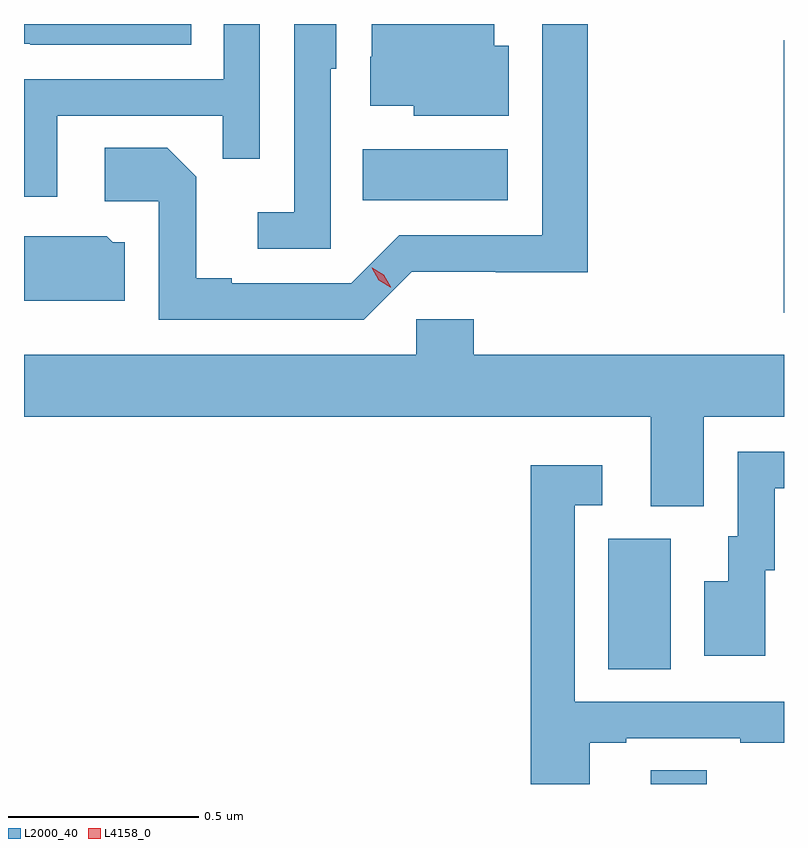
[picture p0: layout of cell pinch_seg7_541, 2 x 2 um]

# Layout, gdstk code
import gdstk
lib = gdstk.Library(unit=1e-6, precision=1e-09)
def R(c, l, rs):  # rectangles x0, y0, x1, y1
    for r in rs: c.add(gdstk.rectangle(r[:2], r[2:], *l))
def P(c, l, *ps):  # polygons
    for p in ps: c.add(gdstk.Polygon(p, *l))
L2000_40 = (2000, 40)
L4158_0 = (4158, 0)

pinch_seg7_541 = lib.new_cell('pinch_seg7_541')
R(pinch_seg7_541, L2000_40, [(156.329,1063.586,156.477,1063.622), (156.218,1063.888,156.382,1064.232), (156.679,1064.826,156.68,1065.543), (155.572,1065.122,155.953,1065.256)])
P(pinch_seg7_541, L2000_40, [(155.487,1065.468),(155.502,1065.468),(155.502,1065.586),(155.391,1065.586),(155.391,1065.091),(155.295,1065.091),(155.295,1064.994),(155.487,1064.994)],
  [(154.767,1065.345),(155.203,1065.345),(155.203,1065.232),(155.301,1065.232),(155.301,1065.586),(155.205,1065.586),(155.205,1065.441),(154.68,1065.441),(154.68,1065.132),(154.767,1065.132)],
  [(155.956,1065.529),(155.917,1065.529),(155.917,1065.586),(155.595,1065.586),(155.595,1065.5),(155.591,1065.5),(155.591,1065.371),(155.706,1065.371),(155.706,1065.344),(155.956,1065.344)],
  [(155.12,1065.586),(154.68,1065.586),(154.68,1065.534),(154.696,1065.534),(154.696,1065.531),(155.12,1065.531)],
  [(155.7,1064.934),(155.922,1064.934),(155.922,1064.933),(156.163,1064.933),(156.163,1065.586),(156.044,1065.586),(156.044,1065.03),(155.667,1065.03),(155.541,1064.904),(155.227,1064.904),(155.227,1064.917),(155.133,1064.917),(155.133,1065.184),(155.057,1065.26),(154.893,1065.26),(154.893,1065.12),(155.034,1065.12),(155.034,1064.808),(155.574,1064.808)],
  [(154.945,1065.012),(154.914,1065.012),(154.898,1065.028),(154.764,1065.028),(154.764,1065.027),(154.68,1065.027),(154.68,1064.858),(154.945,1064.858)],
  [(156.469,1064.552),(156.68,1064.552),(156.68,1064.716),(155.864,1064.716),(155.864,1064.809),(155.712,1064.809),(155.712,1064.716),(154.68,1064.716),(154.68,1064.552),(156.329,1064.552),(156.329,1064.317),(156.469,1064.317)],
  [(156.631,1064.148),(156.655,1064.148),(156.655,1064.364),(156.68,1064.364),(156.68,1064.46),(156.558,1064.46),(156.558,1064.238),(156.533,1064.238),(156.533,1064.119),(156.47,1064.119),(156.47,1063.923),(156.631,1063.923)],
  [(156.169,1063.695),(156.265,1063.695),(156.265,1063.707),(156.565,1063.707),(156.565,1063.695),(156.68,1063.695),(156.68,1063.803),(156.129,1063.803),(156.129,1064.319),(156.202,1064.319),(156.202,1064.425),(156.013,1064.425),(156.013,1063.586),(156.169,1063.586)])
P(pinch_seg7_541, L4158_0, [(155.644,1064.893),(155.613,1064.912),(155.595,1064.945),(155.595,1064.945),(155.596,1064.945),(155.627,1064.926),(155.645,1064.894),(155.645,1064.893)])

lib.write_gds('pinch_seg7_541.gds')
